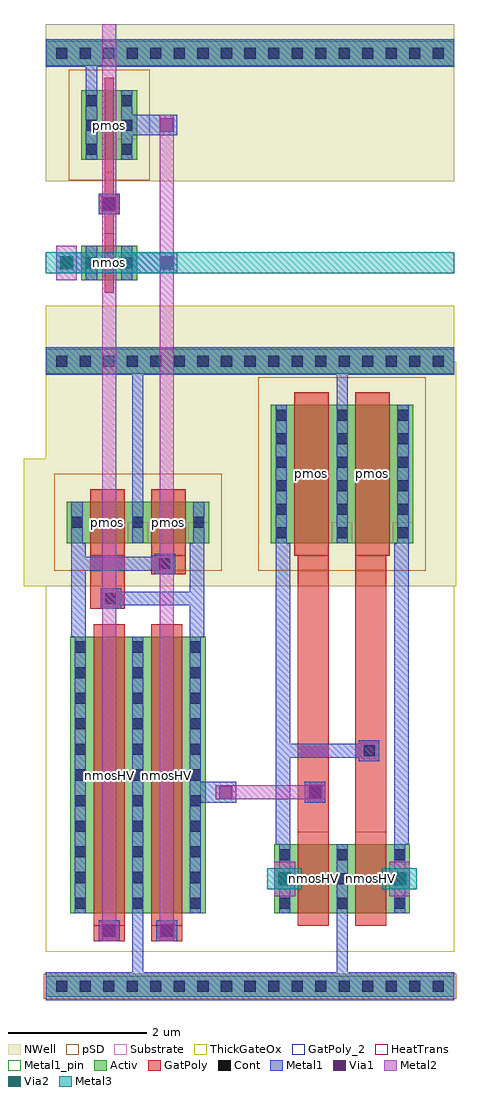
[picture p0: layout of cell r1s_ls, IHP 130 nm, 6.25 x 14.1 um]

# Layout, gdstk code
import gdstk
lib = gdstk.Library(unit=1e-6, precision=1e-09)
def R(c, l, rs):  # rectangles x0, y0, x1, y1
    for r in rs: c.add(gdstk.rectangle(r[:2], r[2:], *l))
def A(c, l, x, y, w, h, nx, ny, dx, dy):  # array of equal rectangles
    R(c, l, [(x+i*dx, y+j*dy, x+i*dx+w, y+j*dy+h) for i in range(nx) for j in range(ny)])
Activ = (1, 0)
GatPoly = (5, 0)
GatPoly_2 = (5, 2)
Cont = (6, 0)
Metal1 = (8, 0)
Metal1_pin = (8, 2)
Metal2 = (10, 0)
pSD = (14, 0)
Via1 = (19, 0)
Via2 = (29, 0)
Metal3 = (30, 0)
NWell = (31, 0)
Substrate = (40, 0)
ThickGateOx = (44, 0)
HeatTrans = (51, 0)

r1s_ls = lib.new_cell('r1s_ls')
R(r1s_ls, Activ, [(0,0.05,5.9,0.35), (0.35,1.25,0.65,1.55), (0.35,1.25,1.48,5.25), (1.18,1.25,1.48,1.55), (1.18,1.25,1.48,1.55), (1.18,1.25,2.31,5.25), (2.01,1.25,2.31,1.55), (3.3,1.25,3.6,1.55), (3.3,1.25,4.43,2.25), (4.13,1.25,4.43,1.55), (4.13,1.25,4.43,1.55), (4.13,1.25,5.26,2.25), (4.96,1.25,5.26,1.55), (0.3,6.6,0.6,6.9), (0.3,6.6,1.48,7.2), (1.18,6.6,1.48,6.9), (1.18,6.6,1.48,6.9), (1.18,6.6,2.36,7.2), (2.06,6.6,2.36,6.9), (3.25,6.6,3.55,6.9), (3.25,6.6,4.43,8.6), (4.13,6.6,4.43,6.9), (4.13,6.6,4.43,6.9), (4.13,6.6,5.31,8.6), (5.01,6.6,5.31,6.9), (0,9.05,5.9,9.41), (0.51,10.4,0.81,10.7), (0.51,10.4,1.32,10.9), (1.02,10.4,1.32,10.7), (0.51,12.14,0.81,12.44), (0.51,12.14,1.32,13.14), (1.02,12.14,1.32,12.44), (0,13.5,5.9,13.86)])
R(r1s_ls, GatPoly, [(0.69,0.85,1.14,1.25), (1.52,0.85,1.97,1.25), (0.69,1.07,1.14,5.43), (1.52,1.07,1.97,5.43), (3.64,1.07,4.09,2.43), (4.47,1.07,4.92,2.43), (3.64,2.25,4.09,6.6), (4.47,2.25,4.92,6.6), (0.64,5.65,1.14,6.6), (1.52,6.15,2.02,6.6), (0.64,6.42,1.14,7.38), (1.52,6.42,2.02,7.38), (3.59,6.42,4.09,8.78), (4.47,6.42,4.97,8.78), (0.85,10.22,0.98,11.08), (0.85,10.9,0.98,12.14), (0.765,11.35,1.065,11.65), (0.85,11.96,0.98,13.32), (0.85,11.96,0.98,13.32)])
R(r1s_ls, GatPoly_2, [(0.69,1.07,1.14,5.43), (1.52,1.07,1.97,5.43), (3.64,1.07,4.09,2.43), (4.47,1.07,4.92,2.43), (0.64,6.42,1.14,7.38), (1.52,6.42,2.02,7.38), (3.59,6.42,4.09,8.78), (4.47,6.42,4.97,8.78), (0.85,10.22,0.98,11.08)])
A(r1s_ls, Cont, 0.15, 0.12, 0.16, 0.16, 17, 2, 0.34, 9.03)
A(r1s_ls, Cont, 0.42, 1.32, 0.16, 0.16, 1, 11, 0, 0.37)
A(r1s_ls, Cont, 2.08, 1.32, 0.16, 0.16, 1, 11, 0, 0.37)
A(r1s_ls, Cont, 3.37, 1.32, 0.16, 0.16, 1, 3, 0, 0.35)
A(r1s_ls, Cont, 5.03, 1.32, 0.16, 0.16, 1, 3, 0, 0.35)
A(r1s_ls, Cont, 3.32, 6.67, 0.16, 0.16, 1, 6, 0, 0.34)
A(r1s_ls, Cont, 5.08, 6.67, 0.16, 0.16, 1, 6, 0, 0.34)
A(r1s_ls, Cont, 0.58, 12.21, 0.16, 0.16, 1, 3, 0, 0.35)
A(r1s_ls, Cont, 1.09, 12.21, 0.16, 0.16, 1, 3, 0, 0.35)
A(r1s_ls, Cont, 0.15, 13.6, 0.16, 0.16, 17, 1, 0.34, 0)
R(r1s_ls, Cont, [(0.835,0.92,0.995,1.08), (1.665,0.92,1.825,1.08), (1.25,1.32,1.41,1.48), (1.25,1.32,1.41,1.48), (4.2,1.32,4.36,1.48), (4.2,1.32,4.36,1.48), (4.2,1.67,4.36,1.83), (4.2,1.67,4.36,1.83), (1.25,1.69,1.41,1.85), (1.25,1.69,1.41,1.85), (4.2,2.02,4.36,2.18), (4.2,2.02,4.36,2.18), (1.25,2.06,1.41,2.22), (1.25,2.06,1.41,2.22), (1.25,2.43,1.41,2.59), (1.25,2.43,1.41,2.59), (1.25,2.8,1.41,2.96), (1.25,2.8,1.41,2.96), (3.81,2.92,3.97,3.08), (1.25,3.17,1.41,3.33), (1.25,3.17,1.41,3.33), (4.59,3.52,4.75,3.68), (1.25,3.54,1.41,3.7), (1.25,3.54,1.41,3.7), (1.25,3.91,1.41,4.07), (1.25,3.91,1.41,4.07), (1.25,4.28,1.41,4.44), (1.25,4.28,1.41,4.44), (1.25,4.65,1.41,4.81), (1.25,4.65,1.41,4.81), (1.25,5.02,1.41,5.18), (1.25,5.02,1.41,5.18), (0.86,5.72,1.02,5.88), (1.64,6.22,1.8,6.38), (4.2,6.67,4.36,6.83), (4.2,6.67,4.36,6.83), (0.37,6.82,0.53,6.98), (1.25,6.82,1.41,6.98), (1.25,6.82,1.41,6.98), (2.13,6.82,2.29,6.98), (4.2,7.01,4.36,7.17), (4.2,7.01,4.36,7.17), (4.2,7.35,4.36,7.51), (4.2,7.35,4.36,7.51), (4.2,7.69,4.36,7.85), (4.2,7.69,4.36,7.85), (4.2,8.03,4.36,8.19), (4.2,8.03,4.36,8.19), (4.2,8.37,4.36,8.53), (4.2,8.37,4.36,8.53), (0.58,10.57,0.74,10.73), (1.09,10.57,1.25,10.73), (0.835,11.42,0.995,11.58)])
R(r1s_ls, Metal1, [(0,0,5.9,0.4), (1.25,0.4,1.41,1.25), (4.2,0.4,4.36,1.25), (0.765,0.85,1.065,1.15), (1.595,0.85,1.895,1.15), (0.42,1.25,0.58,5.25), (1.25,1.25,1.41,5.25), (1.25,1.25,1.41,5.25), (2.08,1.25,2.24,5.25), (3.37,1.25,3.53,2.25), (4.2,1.25,4.36,2.25), (4.2,1.25,4.36,2.25), (5.03,1.25,5.19,2.25), (3.3,1.6,3.6,1.9), (4.96,1.6,5.26,1.9), (3.32,2.25,3.53,6.6), (5.03,2.25,5.24,6.6), (2.08,2.85,2.75,3.15), (3.74,2.85,4.04,3.15), (4.52,3.45,4.82,3.75), (3.32,3.5,4.82,3.7), (0.37,5.25,0.58,6.6), (2.08,5.25,2.29,6.6), (0.79,5.65,1.09,5.95), (0.79,5.7,2.29,5.9), (1.57,6.15,1.87,6.45), (0.37,6.2,1.87,6.4), (0.37,6.6,0.53,7.2), (1.25,6.6,1.41,7.2), (1.25,6.6,1.41,7.2), (2.13,6.6,2.29,7.2), (3.32,6.6,3.48,8.6), (4.2,6.6,4.36,8.6), (4.2,6.6,4.36,8.6), (5.08,6.6,5.24,8.6), (1.25,7.2,1.41,9.03), (4.2,8.6,4.36,9.03), (0,9.03,5.9,9.43), (0.58,10.4,0.74,10.9), (1.09,10.4,1.25,10.9), (0.15,10.5,0.74,10.8), (1.09,10.5,1.895,10.8), (0.765,11.35,1.065,11.65), (0.58,12.14,0.74,13.14), (0.58,12.14,0.74,13.14), (1.09,12.14,1.25,13.14), (1.09,12.14,1.25,13.14), (1.09,12.49,1.895,12.79), (0.58,13.14,0.74,13.48), (0,13.48,5.9,13.88)])
R(r1s_ls, Metal1_pin, [(0.42,1.25,0.58,5.25), (1.25,1.25,1.41,5.25), (1.25,1.25,1.41,5.25), (2.08,1.25,2.24,5.25), (3.37,1.25,3.53,2.25), (4.2,1.25,4.36,2.25), (4.2,1.25,4.36,2.25), (5.03,1.25,5.19,2.25), (0.37,6.6,0.53,7.2), (1.25,6.6,1.41,7.2), (1.25,6.6,1.41,7.2), (2.13,6.6,2.29,7.2), (3.32,6.6,3.48,8.6), (4.2,6.6,4.36,8.6), (4.2,6.6,4.36,8.6), (5.08,6.6,5.24,8.6), (0.58,10.4,0.74,10.9), (1.09,10.4,1.25,10.9)])
R(r1s_ls, Metal2, [(0.815,0.85,1.015,1.15), (1.645,0.85,1.845,1.15), (0.815,0.9,1.015,14.1), (1.645,0.9,1.845,12.74), (3.3,1.5,3.6,2), (4.96,1.5,5.26,2), (2.455,2.9,4.035,3.1), (0.15,10.4,0.45,10.9), (1.645,10.5,1.845,10.8), (0.815,11.35,1.015,11.65), (1.645,12.49,1.845,12.79)])
R(r1s_ls, pSD, [(-0.03,0.02,5.93,0.38), (0.12,6.2,1.66,7.6), (1,6.2,2.54,7.6), (3.07,6.2,4.61,9), (3.95,6.2,5.49,9), (0.33,11.84,1.5,13.44)])
R(r1s_ls, Via1, [(0.82,0.905,1.01,1.095), (1.65,0.905,1.84,1.095), (3.355,1.655,3.545,1.845), (5.015,1.655,5.205,1.845), (2.505,2.905,2.695,3.095), (3.795,2.905,3.985,3.095), (0.205,10.555,0.395,10.745), (1.65,10.555,1.84,10.745), (0.82,11.405,1.01,11.595), (1.65,12.545,1.84,12.735)])
R(r1s_ls, Via2, [(3.355,1.655,3.545,1.845), (5.015,1.655,5.205,1.845), (0.205,10.555,0.395,10.745)])
R(r1s_ls, Metal3, [(3.2,1.6,3.7,1.9), (4.86,1.6,5.36,1.9), (0,10.5,5.9,10.8)])
R(r1s_ls, NWell, [(-0.32,5.98,2.1,7.82), (0,5.98,5.9,10.03), (0.56,5.98,2.98,7.82), (2.63,5.98,5.05,9.22), (3.51,5.98,5.93,9.22), (0,11.83,5.9,14.1), (0.2,11.83,1.63,13.45)])
R(r1s_ls, Substrate, [(1.18,6.6,1.48,6.9), (2.06,6.6,2.36,6.9), (4.13,6.6,4.43,6.9), (5.01,6.6,5.31,6.9), (1.02,12.14,1.32,12.44)])
R(r1s_ls, ThickGateOx, [(0,0.7,5.9,10.03), (0.08,0.73,1.75,5.77), (0.91,0.73,2.58,5.77), (3.03,0.73,4.7,2.77), (3.86,0.73,5.53,2.77), (-0.32,5.98,2.1,7.82), (0.56,5.98,2.98,7.82), (2.63,5.98,5.05,9.22), (3.51,5.98,5.93,9.22)])
R(r1s_ls, HeatTrans, [(0.69,1.07,1.14,5.43), (1.52,1.07,1.97,5.43), (3.64,1.07,4.09,2.43), (4.47,1.07,4.92,2.43), (0.64,6.42,1.14,7.38), (1.52,6.42,2.02,7.38), (3.59,6.42,4.09,8.78), (4.47,6.42,4.97,8.78), (0.85,10.22,0.98,11.08), (0.85,11.96,0.98,13.32)])
r1s_ls.add(gdstk.Label('nmosHV', (0.915,3.25), layer=51, texttype=0))
r1s_ls.add(gdstk.Label('nmosHV', (1.745,3.25), layer=51, texttype=0))
r1s_ls.add(gdstk.Label('nmosHV', (3.865,1.75), layer=51, texttype=0))
r1s_ls.add(gdstk.Label('nmosHV', (4.695,1.75), layer=51, texttype=0))
r1s_ls.add(gdstk.Label('pmos', (0.89,6.9), layer=51, texttype=0))
r1s_ls.add(gdstk.Label('pmos', (1.77,6.9), layer=51, texttype=0))
r1s_ls.add(gdstk.Label('pmos', (3.84,7.6), layer=51, texttype=0))
r1s_ls.add(gdstk.Label('pmos', (4.72,7.6), layer=51, texttype=0))
r1s_ls.add(gdstk.Label('nmos', (0.915,10.65), layer=51, texttype=0))
r1s_ls.add(gdstk.Label('pmos', (0.915,12.64), layer=51, texttype=0))

lib.write_gds('r1s_ls.gds')
